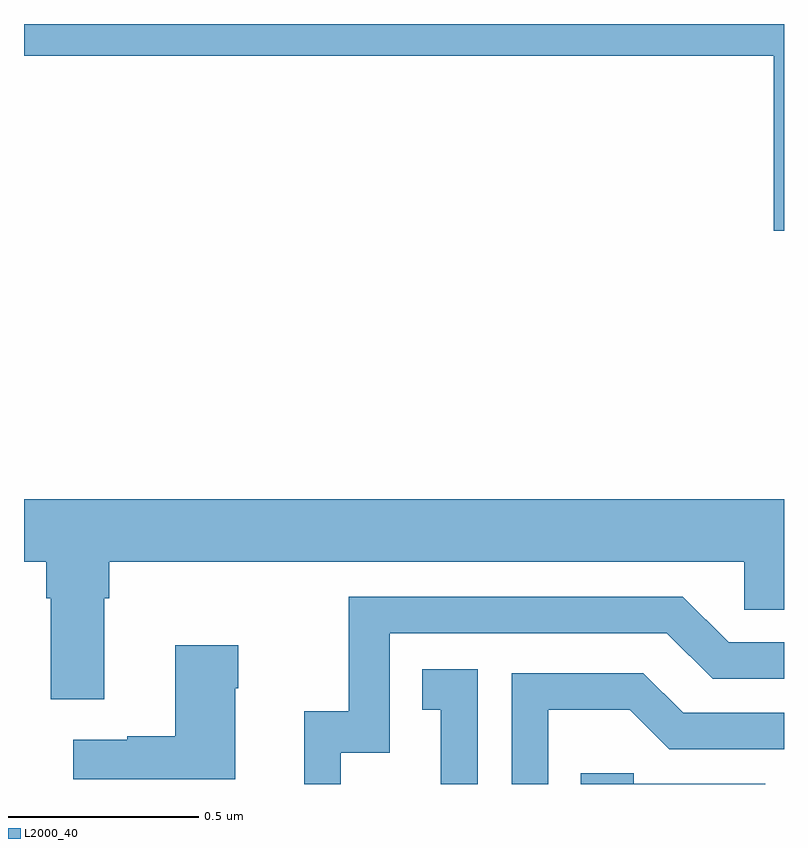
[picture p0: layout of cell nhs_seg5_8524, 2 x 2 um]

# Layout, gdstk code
import gdstk
lib = gdstk.Library(unit=1e-6, precision=1e-09)
def P(c, l, *ps):  # polygons
    for p in ps: c.add(gdstk.Polygon(p, *l))
L2000_40 = (2000, 40)

nhs_seg5_8524 = lib.new_cell('nhs_seg5_8524')
P(nhs_seg5_8524, L2000_40, [(224,900.799),(222,900.799),(222,900.716),(223.973,900.716),(223.973,900.255),(224,900.255)],
  [(222.211,899.288),(222.224,899.288),(222.224,899.384),(223.896,899.384),(223.896,899.257),(224,899.257),(224,899.548),(222,899.548),(222,899.384),(222.059,899.384),(222.059,899.288),(222.071,899.288),(222.071,899.022),(222.211,899.022)],
  [(222.834,898.881),(222.963,898.881),(222.963,899.196),(223.692,899.196),(223.812,899.076),(224,899.076),(224,899.172),(223.854,899.172),(223.734,899.292),(222.855,899.292),(222.855,898.99),(222.737,898.99),(222.737,898.799),(222.834,898.799)],
  [(222.556,899.051),(222.564,899.051),(222.564,899.164),(222.398,899.164),(222.398,898.925),(222.272,898.925),(222.272,898.915),(222.129,898.915),(222.129,898.811),(222.556,898.811)],
  [(223.194,899.101),(223.048,899.101),(223.048,898.995),(223.097,898.995),(223.097,898.799),(223.194,898.799)],
  [(223.38,898.994),(223.594,898.994),(223.698,898.89),(224,898.89),(224,898.986),(223.735,898.986),(223.63,899.091),(223.284,899.091),(223.284,898.799),(223.38,898.799)],
  [(223.95,898.8),(223.605,898.8),(223.605,898.827),(223.465,898.827),(223.465,898.799),(223.95,898.799)])

lib.write_gds('nhs_seg5_8524.gds')
